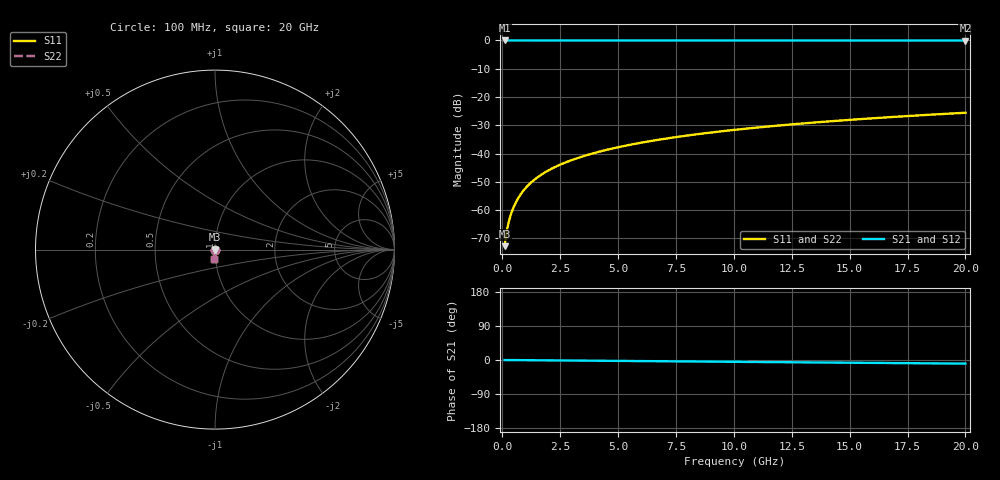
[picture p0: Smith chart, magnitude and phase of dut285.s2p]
! Touchstone file exported from HFSS 2026.1.0
!  File:  C:/ffzhzh/LocalFiles/Ansys_Project_Files/temp_train_TSV_285_1782993638_6248.aedt
!  Generated:  08:02:05 PM Jul  2, 2026
!  Design:  TSV
!  Project:  temp_train_TSV_285_1782993638_6248
! Variables:
!  h_bsmrdl = 2um
!  h_ox = 20um
!  h_rdl = 5um
!  h_sub = 94.57um
!  h_tmrdl = 5um
!  h_tsv = 94.57um
!  h_via = 3um
!  l_bsmrdl = 300um
!  l_sub = 429.22um
!  l_tmrdl = 200um
!  m_sub = 200um
!  pitch = 44.01um
!  r_tsv = 14.61um
!  s_tmrdl = 10um
!  w_bsmrdl = 18um
!  w_sub = 500um
!  w_tmrdl = 12um
!  x_tsv_center1 = 206um
!  x_tsv_center2 = 524um
!  x_tsv_center3 = 736um
!  x_tsv_center4 = 1054um
!  x_tsv_center5 = 1266um
!  x_tsv_center6 = 1584um
# GHz S MA R 50.000000
! Terminal data exported
! Port[1] = TSV1_1_T1
! Port[2] = TSV1_1_T2
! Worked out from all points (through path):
!   200 points, 100 MHz to 20 GHz, reference 50 ohm
!   highest |S21| = 0.00 dB at 100 MHz (marker M1); lowest = 0.0 dB at 20 GHz (marker M2)
!   group delay of S21, straight-line fit = 1.32 ps
!   lowest |S11| = -72.8 dB at 100 MHz (marker M3), VSWR 1.00, Z = 50 - j0.0212 ohm
!   |S11| at or under -10 dB: start of sweep to end of sweep
!   |S22| runs from -72.8 to -25.6 dB; largest |S21 - S12| = 2.3e-15
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0.1  0.0002296 -67.5  0.9999 -0.1  0.9999 -0.1  0.0002296 -67.5
! Gamma 0 0 0 0
! Port Impedance 50 0 50 0
0.2  0.0004423 -76.2  0.9999 -0.1  0.9999 -0.1  0.0004423 -76.2
0.3  0.0006686 -78.7  0.9999 -0.2  0.9999 -0.2  0.0006686 -78.7
0.4  0.0009055 -79.9  0.9998 -0.2  0.9998 -0.2  0.0009055 -79.9
0.5  0.001151 -80.7  0.9998 -0.2  0.9998 -0.2  0.001151 -80.7
0.7  0.001658 -81.9  0.9998 -0.3  0.9998 -0.3  0.001658 -81.9
0.8  0.001916 -82.4  0.9997 -0.4  0.9997 -0.4  0.001916 -82.4
1  0.002437 -83.4  0.9997 -0.5  0.9997 -0.5  0.002437 -83.4
1.2  0.002959 -84.2  0.9997 -0.6  0.9997 -0.6  0.002959 -84.2
1.4  0.003482 -84.9  0.9996 -0.7  0.9996 -0.7  0.003482 -84.9
1.7  0.004266 -85.7  0.9996 -0.8  0.9996 -0.8  0.004266 -85.7
2  0.005049 -86.4  0.9996 -1.0  0.9996 -1.0  0.005049 -86.4
2.7  0.006875 -87.5  0.9995 -1.3  0.9995 -1.3  0.006875 -87.5
3.5  0.008966 -88.4  0.9994 -1.7  0.9994 -1.7  0.008966 -88.4
4.2  0.0108 -89.1  0.9994 -2.0  0.9994 -2.0  0.0108 -89.1
5  0.01291 -89.7  0.9993 -2.4  0.9993 -2.4  0.01291 -89.7
6.8  0.01766 -90.9  0.9991 -3.3  0.9991 -3.3  0.01766 -90.9
8.3  0.02163 -91.9  0.999 -4.0  0.999 -4.0  0.02163 -91.9
10.1  0.0264 -92.9  0.9988 -4.8  0.9988 -4.8  0.0264 -92.9
13.4  0.03515 -94.8  0.9984 -6.4  0.9984 -6.4  0.03515 -94.8
16.7  0.04389 -96.5  0.9979 -8.0  0.9979 -8.0  0.04389 -96.5
20  0.05261 -98.2  0.9974 -9.5  0.9974 -9.5  0.05261 -98.2
